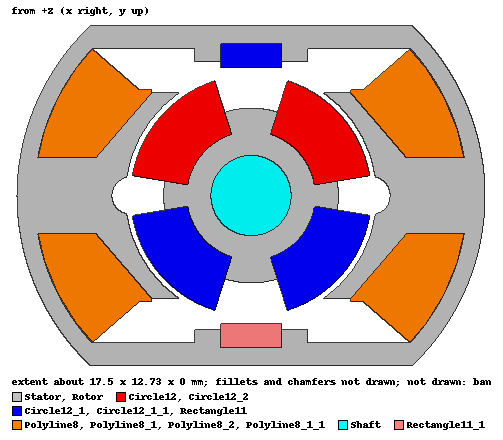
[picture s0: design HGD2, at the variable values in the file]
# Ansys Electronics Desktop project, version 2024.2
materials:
  vacuum: permittivity=1
  Duroid (tm): permittivity=2.2 dielectric_loss_tangent=0.0009
  DW465_50: permeability{HUnit=A_per_meter BUnit=tesla curve (0, 0) (64, 0.4) (68, 0.45) (72, 0.5) (75, 0.55) (77, 0.6) (79, 0.65) (80, 0.7) (84, 0.75) (88, 0.8) (96, 0.85) (104, 0.9) (112, 0.95) (121, 1) (134, 1.05) (143, 1.1) (167, 1.15) (189, 1.2) (223, 1.25) (263, 1.3) (318, 1.35) (430, 1.4) (669, 1.45) (995, 1.5) (1592, 1.55) (2548, 1.6) (3742, 1.65) (5096, 1.7) (6688, 1.75) (10098, 1.8) (15029, 1.85) (21045, 1.9) (28061, 1.95) (38191, 2) (51338, 2.05) (70038, 2.1) (102070, 2.15) (130740, 2.2) (161790, 2.25)} core_loss_type="Electrical Steel" core_loss_kh=190 core_loss_kc=0.822 mass_density=7700
  steel_1010: permittivity=1 permeability{HUnit=A_per_meter BUnit=tesla curve (0, 0) (238.7, 0.2003) (318.3, 0.3204) (358.1, 0.40045) (437.7, 0.50055) (477.5, 0.5606) (636.6, 0.7908) (795.8, 0.931) (1114.1, 1.1014) (1273.2, 1.2016) (1591.5, 1.302) (2228.2, 1.4028) (3183.1, 1.524) (4774.6, 1.626) (6366.2, 1.698) (7957.7, 1.73) (15915.5, 1.87) (31831, 1.99) (47746.5, 2.04) (63662, 2.07) (79577.5, 2.095) (159155, 2.2) (318310, 2.4)} conductivity=2000000 lande_g_factor=2
  copper: permeability=0.999991 conductivity=58000000
  JL Mag Rare-Earth - N52UH: permeability{HUnit=A_per_meter BUnit=tesla IsTemperatureDependent Temperatures{Temperature{TempRef=20cel} Temperature{TempRef=40cel} Temperature{TempRef=50cel} Temperature{TempRef=60cel} Temperature{TempRef=70cel} Temperature{TempRef=80cel} Temperature{TempRef=90cel} Temperature{TempRef=100cel} Temperature{TempRef=110cel} Temperature{TempRef=120cel} Temperature{TempRef=130cel} Temperature{TempRef=140cel} Temperature{TempRef=150cel} Temperature{TempRef=160cel} Temperature{TempRef=170cel} Temperature{TempRef=180cel}} curve (-2012000, -2.61702) (-2011160, -2.35753) (-2010320, -2.17631) (-2009490, -2.04247) (-2008650, -1.9395) (-2007810, -1.85774) (-2006970, -1.7912) (-2006130, -1.73594) (-2005290, -1.68928) (-2004460, -1.64932) (-2003620, -1.61468) (-2002780, -1.58434) (-2001940, -1.55753) (-2001100, -1.53364) (-2000260, -1.5122) (-1999430, -1.49283) (-1998590, -1.47524) (-1997750, -1.45918) (-1996910, -1.44444) (-1996070, -1.43086) (-1995230, -1.41829) (-1994400, -1.40662) (-1993560, -1.39575) (-1992720, -1.38559) (-1991880, -1.37605) (-1983830, -1.30704) (-1975780, -1.26154) (-1967740, -1.22776) (-1959690, -1.20066) (-1951640, -1.17773) (-1917440, -1.10301) (-1883230, -1.04388) (-1849030, -0.990753) (-1814820, -0.940566) (-1780620, -0.892036) (-1746420, -0.844532) (-1712210, -0.797707) (-1678010, -0.751356) (-1643800, -0.705346) (-1609600, -0.659593) (-1582770, -0.623847) (-1555950, -0.588201) (-1529120, -0.552638) (-1502290, -0.517145) (-1475470, -0.481712) (-1448640, -0.446329) (-1421810, -0.410991) (-1394990, -0.375691) (-1368160, -0.340425) (-1341330, -0.305188) (-1314510, -0.269978) (-1287680, -0.234791) (-1260850, -0.199625) (-1234030, -0.164477) (-1207200, -0.129347) (-1180370, -0.0942313) (-1153550, -0.0591297) (-1126720, -0.0240407) (-1099890, 0.0110369) (-1073070, 0.046104) (-1046240, 0.0811614) (-1019410, 0.11621) (-992587, 0.151251) (-965760, 0.186284) (-938933, 0.22131) (-912107, 0.256329) (-885280, 0.291343) (-858453, 0.326351) (-831627, 0.361354) (-804800, 0.396352) (-777973, 0.431346) (-751147, 0.466335) (-724320, 0.50132) (-697493, 0.536302) (-670667, 0.57128) (-643840, 0.606254) (-617013, 0.641226) (-590187, 0.676195) (-563360, 0.711161) (-536533, 0.746124) (-509707, 0.781085) (-482880, 0.816043) (-456053, 0.850999) (-429227, 0.885954) (-402400, 0.920906) (-375573, 0.955856) (-348747, 0.990804) (-321920, 1.02575) (-295093, 1.0607) (-268267, 1.09564) (-241440, 1.13058) (-214613, 1.16552) (-187787, 1.20046) (-160960, 1.2354) (-134133, 1.27033) (-107307, 1.30527) (-80480, 1.3402) (-53653.3, 1.37514) (-26826.7, 1.41007) (0, 1.445)} conductivity=666700 magnetic_coercivity{Magnitude=-1108330A_per_meter DirComp1=1 DirComp2=0 DirComp3=0}

design HGD2 (Maxwell 2D, Transient, XY geometry, model units mm)
options: ComputeTransientInductance ModelDepth=model_length
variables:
  model_length = 23.8mm
  r_stator = 4.7mm
  airgap = 0.2mm
  d_out = 17.5mm
  r_rotor = mag_r_inner + mag_thick * mag_embed
  mag_r_outer = r_stator - airgap
  mag_thick = 2.1mm
  mag_r_inner = mag_r_outer - mag_thick
  mag_embed = 0.413
  d_shaft = 3mm
  mag_angle = 49deg
  pole_num = 4
  embrace = 0.7
  motor_thick = 12.7mm
  yoke_2 = 0.85mm
  yoke_1 = 0.65mm
  HS_1 = 2.3mm
  HS_2 = 1.425mm
  angle_stator = 55deg
  HS_5 = 0.8mm
  x_air = 0.2mm
  y_air = 0mm
  bridge_air = 0.7mm
  l_bottom = d_out/2-yoke_1-HS_1
  l_top = cos(angle_stator)*(r_stator+HS_5)
  y0 = sin(angle_stator)*(r_stator+HS_5)
  k_stator = (l_bottom-l_top)/(HS_2-y0)
  fillet_stator = 0.6mm
  fz_x_size = 2.25mm
  fz_y_size = 0.9mm
  slot_x_size = 1mm
  slot_y_size = 0.5mm
  mag_center_x = sin(mag_angle)*(mag_thick/2+mag_r_inner)
  mag_center_y = cos(mag_angle)*(mag_thick/2+mag_r_inner)
  J_i = pi/2*model_length*(7872*(d_shaft^4)/32+7700*(r_rotor^4-((d_shaft^4)/32)))-7700*model_length*(pi/2*embrace)*(r_rotor^4-mag_r_inner^4)+7650*(model_length+0.2mm)*(pi/2*embrace)*((mag_r_inner+mag_thick)^4-(r_rotor^4))+7650*(model_length+0.2mm)*(pi/2*embrace)*(r_rotor^4-mag_r_inner^4)
  T_fri = 4mNewtonMeter
  cal_num = 75
  coil_L = (4*((HS_2+y0)/2)+2*model_length*1.5)*cal_num
  d_line = 0.26mm
  coil_S = d_line*d_line/4*pi
  R_winding = coil_L/coil_S*1.7e-8*2ohm
  Lm = 0mH
  f = 183Hz
  select = 0
  U_vib = u_vib_sin
  u_vib_sin = 2.5*sin(2*pi*f*Time)
  u_vib_sqr = if(sin(2*pi*f*Time) > 0, 2.5, -2.5)
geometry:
  band [vacuum] = circle(normal=Z, centre=(0mm, 0mm, 0mm), radius=r_stator - airgap / 2)
  outer_region [vacuum] = circle(normal=Z, centre=(0mm, 0mm, 0mm), radius=d_out / 2 + 3mm)
  Rotor [DW465_50] = circle(normal=Z, centre=(0mm, 0mm, 0mm), radius=r_rotor)
  Circle1 = circle(normal=Z, centre=(0mm, 0mm, 0mm), radius=d_shaft / 2)
  Rotor.subtract(Circle1)
  Circle2 = circle(normal=Z, centre=(0mm, 0mm, 0mm), radius=mag_r_outer)
  Circle3 = circle(normal=Z, centre=(0mm, 0mm, 0mm), radius=mag_r_outer - mag_thick)
  Circle2.subtract(Circle3)
  Circle2.split(plane=YZ, keep=PositiveOnly)
  Circle2.rotate(axis=Z, angle=360deg / pole_num * embrace)
  Circle2.split(plane=YZ, keep=NegativeOnly)
  Circle2.rotate(axis=Z, angle=mag_angle - 0.5 * (360deg / pole_num * embrace))
  Circle2.fillet(Vertices=Circle2.vertex(at (-0.721694, 2.28892, 0)) Radius=0.2mm Setback=0mm)
  Stator [DW465_50] = circle(normal=Z, centre=(0mm, 0mm, 0mm), radius=d_out / 2)
  Rectangle1 = rectangle(corner=(-d_out / 2, -motor_thick / 2, 0mm), x_size=d_out, y_size=motor_thick)
  Stator.intersect(Rectangle1)
  Circle4 = circle(normal=Z, centre=(0mm, 0mm, 0mm), radius=d_out/2)
  Circle5 = circle(normal=Z, centre=(0mm, 0mm, 0mm), radius=d_out/2)
  Rectangle2 = rectangle(corner=(-d_out/2, -motor_thick/2, 0mm), x_size=d_out, y_size=motor_thick)
  Rectangle3 = rectangle(corner=(-d_out/2, -(motor_thick-2*yoke_2)/2, 0mm), x_size=d_out, y_size=motor_thick-2*yoke_2)
  Circle5.intersect(Rectangle2, Rectangle3)
  Circle4.intersect(Circle5)
  Stator.subtract(Circle4)
  Rectangle4 = rectangle(corner=(-d_out/2, -motor_thick/2, 0mm), x_size=d_out, y_size=motor_thick)
  Circle6 = circle(normal=Z, centre=(0mm, 0mm, 0mm), radius=d_out/2)
  Circle7 = circle(normal=Z, centre=(0mm, 0mm, 0mm), radius=d_out/2-yoke_1)
  Circle6.subtract(Circle7)
  Circle6.intersect(Rectangle4)
  Stator.unite(Circle6)
  Rectangle5 = rectangle(corner=(d_out/2, 0mm, 0mm), x_size=-HS_1-yoke_1, y_size=HS_2)
  Circle8 = circle(normal=Z, centre=(0mm, 0mm, 0mm), radius=d_out/2)
  Rectangle5.intersect(Circle8)
  Rectangle5_1 = Rectangle5.duplicate_mirror(point=(7.5mm, 0mm, 0mm), normal=(0mm, 1mm, 0mm))
  Circle9 = circle(normal=Z, centre=(0mm, 0mm, 0mm), radius=r_stator)
  Rectangle5.subtract(Circle9)
  Rectangle5_2 = Rectangle5.duplicate_mirror(point=(0mm, 0mm, 0mm), normal=(1mm, 0mm, 0mm))
  Rectangle5_2_1 = Rectangle5_2.duplicate_mirror(point=(0mm, 0mm, 0mm), normal=(0mm, 1mm, 0mm))
  Stator.unite(Rectangle5_1, Rectangle5)
  Stator.unite(Rectangle5_2, Rectangle5_2_1)
  Polyline1 = polyline((d_out/2-yoke_1-HS_1, 0mm, 0mm) (d_out/2-yoke_1-HS_1, HS_2, 0mm))
  Polyline1_1 = Polyline1.duplicate_mirror(point=(0mm, 0mm, 0mm), normal=(0mm, -1mm, 0mm))
  Polyline2 = polyline((d_out/2-yoke_1-HS_1, HS_2, 0mm) (cos(angle_stator)*(r_stator+HS_5), sin(angle_stator)*(r_stator+HS_5), 0mm))
  Polyline2_1 = Polyline2.duplicate_mirror(point=(0mm, 0mm, 0mm), normal=(0mm, -1mm, 0mm))
  Polyline3 = polyline((cos(angle_stator)*(r_stator+HS_5), sin(angle_stator)*(r_stator+HS_5), 0mm) (cos(angle_stator)*(r_stator), sin(angle_stator)*(r_stator), 0mm))
  Polyline3_1 = Polyline3.duplicate_mirror(point=(0mm, 0mm, 0mm), normal=(0mm, -1mm, 0mm))
  Polyline4 = polyline(z=0mm, xy: (r_stator, 0mm) (4.1689509mm, 2.1702185mm) (2.6958093mm, 3.8500146mm), AngularArc from point 0 over 3 centre=(0mm, 0mm, 0mm) angle=angle_stator plane=XY)
  Polyline4_1 = Polyline4.duplicate_mirror(point=(0mm, 0mm, 0mm), normal=(0mm, -1mm, 0mm))
  Polyline1.unite(Polyline1_1, Polyline2, Polyline2_1, Polyline3, Polyline3_1, Polyline4, Polyline4_1)
  Polyline1.cover_lines()
  Polyline1_2 = Polyline1.duplicate_mirror(point=(0mm, 0mm, 0mm), normal=(-1mm, 0mm, 0mm))
  Stator.unite(Polyline1, Polyline1_2)
  Circle10 = circle(normal=Z, centre=(r_stator-x_air, y_air, 0mm), radius=bridge_air)
  Circle10_1 = Circle10.duplicate_mirror(point=(0mm, 0mm, 0mm), normal=(1mm, 0mm, 0mm))
  Stator.subtract(Circle10, Circle10_1)
  Polyline5 = polyline((cos(angle_stator)*(r_stator+HS_5), sin(angle_stator)*(r_stator+HS_5), 0mm) (cos(angle_stator)*(r_stator), sin(angle_stator)*(r_stator), 0mm))
  Polyline6 = polyline((sin(angle_stator)*(-HS_5)*k_stator+cos(angle_stator)*(r_stator+HS_5), sin(angle_stator)*(r_stator), 0mm) (cos(angle_stator)*(r_stator), sin(angle_stator)*(r_stator), 0mm))
  Polyline7 = polyline((sin(angle_stator)*(-HS_5)*k_stator+cos(angle_stator)*(r_stator+HS_5), sin(angle_stator)*(r_stator), 0mm) (cos(angle_stator)*(r_stator+HS_5), sin(angle_stator)*(r_stator+HS_5), 0mm))
  Polyline5.unite(Polyline6, Polyline7)
  Polyline5.cover_lines()
  Polyline5_1 = Polyline5.duplicate_mirror(point=(0mm, 0mm, 0mm), normal=(-1mm, 0mm, 0mm))
  Polyline5_1_1 = Polyline5_1.duplicate_mirror(point=(0mm, 0mm, 0mm), normal=(0mm, -1mm, 0mm))
  Polyline5_2 = Polyline5.duplicate_mirror(point=(0mm, 0mm, 0mm), normal=(0mm, -1mm, 0mm))
  Stator.subtract(Polyline5, Polyline5_1, Polyline5_1_1, Polyline5_2)
  Stator.chamfer(Vertices=Stator.vertex(at (2.69581, 3.85001, 0), at (2.69581, -3.85001, 0), at (-2.69581, 3.85001, 0), at (-2.69581, -3.85001, 0)) LeftDistance=fillet_stator RightDistance=fillet_stator ChamferType=Symmetric)
  Rectangle6 = rectangle(corner=(-fz_x_size/2, 5.7mm, 0mm), x_size=fz_x_size, y_size=-fz_y_size)
  Rectangle6_1 = Rectangle6.duplicate_mirror(point=(0mm, 0mm, 0mm), normal=(0mm, 1mm, 0mm))
  Stator.subtract(Rectangle6, Rectangle6_1)
  Rectangle7 = rectangle(corner=(-fz_x_size/2, 5.5mm, 0mm), x_size=-slot_x_size, y_size=-slot_y_size)
  Rectangle7_1 = Rectangle7.duplicate_mirror(point=(0mm, 0mm, 0mm), normal=(1mm, 0mm, 0mm))
  Rectangle7_2 = Rectangle7.duplicate_mirror(point=(0mm, 0mm, 0mm), normal=(0mm, 1mm, 0mm))
  Rectangle7_1_1 = Rectangle7_1.duplicate_mirror(point=(0mm, 0mm, 0mm), normal=(0mm, 1mm, 0mm))
  Stator.unite(Rectangle7, Rectangle7_1_1, Rectangle7_1, Rectangle7_2)
  Shaft [steel_1010] = circle(normal=Z, centre=(0mm, 0mm, 0mm), radius=d_shaft/2)
  Polyline8 [copper] = polyline(z=0mm, xy: (0mm, d_out/2-yoke_1) (0mm, 0mm) (-(d_out/2-yoke_1), 0mm))
  Polyline9 = polyline(z=0mm, xy: (0mm, d_out/2-yoke_1) (-5.7275649mm, 5.7275649mm) (-8.1mm, -8.0659739e-16mm), AngularArc from point 0 over 3 centre=(0mm, 0mm, 0mm) angle=90deg plane=XY)
  Polyline8.unite(Polyline9)
  Polyline8.cover_lines()
  Rectangle8 = rectangle(corner=(0mm, 0mm, 0mm), x_size=-(sin(angle_stator)*(-HS_5)*k_stator+cos(angle_stator)*(r_stator+HS_5)), y_size=motor_thick/2-yoke_2)
  Rectangle9 = rectangle(corner=(0mm, d_out/2, 0mm), x_size=-(d_out/2), y_size=-(d_out/2-motor_thick/2+yoke_2))
  Circle11 = circle(normal=Z, centre=(0mm, 0mm, 0mm), radius=d_out/2)
  Rectangle10 = rectangle(corner=(-d_out/2, 0mm, 0mm), x_size=d_out/2, y_size=HS_2)
  Rectangle10.intersect(Circle11)
  Polyline8.subtract(Rectangle10, Rectangle8, Rectangle9)
  Polyline10 = polyline(z=0mm, xy: (-(d_out/2-yoke_1-HS_1), HS_2) (-(cos(angle_stator)*(r_stator+HS_5)), sin(angle_stator)*(r_stator+HS_5)) (0mm, sin(angle_stator)*(r_stator+HS_5)) (0mm, HS_2) (-(d_out/2-yoke_1-HS_1), HS_2), closed, covered)
  Polyline8.subtract(Polyline10)
  Polyline8.fillet(Vertices=Polyline8.vertex(at (-3.71745, 3.85001, 0)) Radius=0.2mm Setback=0mm)
  Polyline29 = polyline(z=0mm, xy in mm: (-4.189635, 3.9671404) (-5.9464275, 5.5) (5.9464275, 5.5) (4.189635, 3.9671404) (-4.189635, 3.9671404), closed, covered)
  Polyline8.subtract(Polyline29)
  Polyline8_1 [copper] = Polyline8.duplicate_mirror(point=(0mm, 0mm, 0mm), normal=(1mm, 0mm, 0mm))
  Polyline8_2 [copper] = Polyline8.duplicate_mirror(point=(0mm, 0mm, 0mm), normal=(0mm, -1mm, 0mm))
  Polyline8_1_1 [copper] = Polyline8_1.duplicate_mirror(point=(0mm, 0mm, 0mm), normal=(0mm, -1mm, 0mm))
  coordinate_system RelativeCS1 = origin=(0mm, 5.3mm, 0mm) x=(0mm, -1mm, 0mm) y=(1mm, 0mm, 0mm)
  Rectangle11 [JL Mag Rare-Earth - N52UH, oriented by RelativeCS1] = rectangle(corner=(-fz_x_size/2, 5.7mm, 0mm), x_size=fz_x_size, y_size=-fz_y_size)
  Rectangle11_1 [JL Mag Rare-Earth - N52UH, oriented by RelativeCS2] = Rectangle11.duplicate_mirror(point=(5.3mm, 0mm, 0mm), normal=(-1mm, 0mm, 0mm)) in RelativeCS1
  coordinate_system RelativeCS2 = origin=(0mm, -5.3mm, 0mm) x=(0mm, 1mm, 0mm) y=(1mm, 0mm, 0mm)
  Circle2.fillet(Vertices=Circle2.vertex(at (-1.35318, 4.29173, 0), at (-2.36709, 0.396114, 0), at (-4.43829, 0.742714, 0)) Radius=0.2mm Setback=0mm)
  Circle2_1 = Circle2.duplicate_mirror(point=(0mm, 0mm, 0mm), normal=(0mm, 1mm, 0mm))
  Circle2_2 = Circle2.duplicate_mirror(point=(0mm, 0mm, 0mm), normal=(-1mm, 0mm, 0mm))
  Circle2_1_1 = Circle2_1.duplicate_mirror(point=(0mm, 0mm, 0mm), normal=(-1mm, 0mm, 0mm))
  Rotor.subtract(Circle2, Circle2_1, Circle2_1_1, Circle2_2)
  coordinate_system RelativeCS3 = origin=(-mag_center_x, mag_center_y, 0mm) x=(-mag_center_x, mag_center_y, 0mm) y=(-mag_center_y, -mag_center_x, 0mm)
  Circle12 [JL Mag Rare-Earth - N52UH, oriented by RelativeCS3] = circle(normal=Z, centre=(0mm, 0mm, 0mm), radius=mag_r_outer)
  Circle13 = circle(normal=Z, centre=(0mm, 0mm, 0mm), radius=mag_r_outer - mag_thick)
  Circle12.subtract(Circle13)
  Circle12.split(plane=YZ, keep=PositiveOnly)
  Circle12.rotate(axis=Z, angle=360deg / pole_num * embrace)
  Circle12.split(plane=YZ, keep=NegativeOnly)
  Circle12.rotate(axis=Z, angle=mag_angle - 0.5 * (360deg / pole_num * embrace))
  Circle12.fillet(Vertices=Circle12.vertex(#1397) Radius=0.2mm Setback=0mm)
  Circle12.fillet(Vertices=Circle12.vertex(#1398, #1392, #1390) Radius=0.2mm Setback=0mm)
  Circle12_1 [JL Mag Rare-Earth - N52UH, oriented by RelativeCS4] = Circle12.duplicate_mirror(point=(0mm, 0mm, 0mm), normal=(0mm, 1mm, 0mm))
  coordinate_system RelativeCS4 = origin=(-mag_center_x, -mag_center_y, 0mm) x=(mag_center_x, mag_center_y, 0mm) y=(-mag_center_y, mag_center_x, 0mm)
  Circle12_2 [JL Mag Rare-Earth - N52UH, oriented by RelativeCS5] = Circle12.duplicate_mirror(point=(0mm, 0mm, 0mm), normal=(1mm, 0mm, 0mm))
  coordinate_system RelativeCS5 = origin=(mag_center_x, mag_center_y, 0mm) x=(mag_center_x, mag_center_y, 0mm) y=(-mag_center_y, mag_center_x, 0mm)
  Circle12_1_1 [JL Mag Rare-Earth - N52UH, oriented by RelativeCS6] = Circle12_1.duplicate_mirror(point=(0mm, 0mm, 0mm), normal=(1mm, 0mm, 0mm))
  coordinate_system RelativeCS6 = origin=(mag_center_x, -mag_center_y, 0mm) x=(-mag_center_x, mag_center_y, 0mm) y=(-mag_center_y, -mag_center_x, 0mm)
  inner_region [vacuum] = circle(normal=Z, centre=(0mm, 0mm, 0mm), radius=4.7mm)
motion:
  MotionSetup1: Band Move_Type=Rotate Coordinate_System=Global Axis=Z Is_Positive=true InitPos=0deg Angular_Velocity=0rpm Moment_of_Inertia=J_i Damping=0 Load_Torque=if(speed<0,T_fri,-T_fri) Objects=band
  Moving1: Moving Objects=[Rotor, Shaft, Circle12, Circle12_1, Circle12_2, Circle12_1_1]
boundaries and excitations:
  VectorPotential1: Vector Potential Edges=outer_region.edge(at (-11.75, 0, 0)) Value=0
  Polyline8: Coil Objects=Polyline8 Conductor_number=cal_num Winding=Winding PolarityType=Negative
  Polyline8_1: Coil Objects=Polyline8_1 Conductor_number=cal_num Winding=Winding PolarityType=Negative
  Polyline8_1_1: Coil Objects=Polyline8_1_1 Conductor_number=cal_num Winding=Winding PolarityType=Positive
  Polyline8_2: Coil Objects=Polyline8_2 Conductor_number=cal_num Winding=Winding PolarityType=Positive
  Winding: Winding Group Type=Voltage IsSolid=false Current=0mA Resistance=R_winding Inductance=Lm Voltage="if(select==1, u_vib_sin, u_vib_sqr)" ParallelBranchesNum=1
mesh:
  CylindricalGap1: CylindricalGap Objects=band Objects=band
  Length1: LengthBased Objects=inner_region MaxLength="(0.3/4) mm"
  Length2: LengthBased RefineInside Objects=outer_region MaxLength=0.5mm
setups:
  Setup1: Transient NonlinearSolverResidual=0.0001 StopTime=200ms TimeStep=0.25ms SaveFieldsType="Every N Steps" N_Steps=1 Steps_From=0s Steps_To=50ms NumberSolveSteps=1 RangeStart=0s RangeEnd=0.1s InitialTimeStep=0.002s MinTimeStep=0.001s MaxTimeStep=0.003s TimeStepErrTolerance=0.0001
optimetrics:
  ParametricSetup1: Parametric InterpolationPoints=0 Sim._Setups=[Setup1]
    sweep T_fri: LIN 0mNewtonMeter 4mNewtonMeter 4mNewtonMeter
    sweep select: LIN 0 1 1
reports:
  Torque Plot 1: Moving1.Torque vs Time on Setup1 : Transient [T_fri=all select=all]
  Winding Plot 1: Current(Winding) vs Time on Setup1 : Transient [T_fri=all select=all]
  Winding Plot 2: InputVoltage(Winding) vs Time on Setup1 : Transient [T_fri=all select=all]
